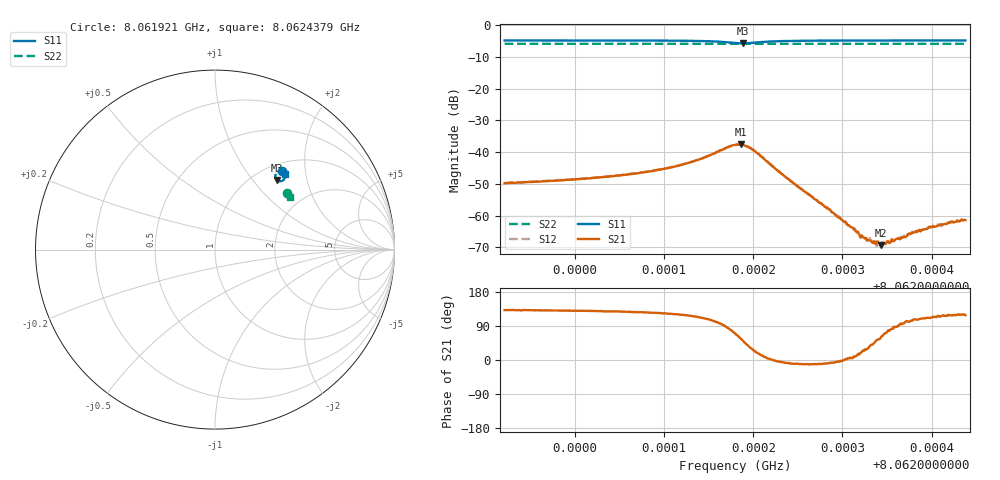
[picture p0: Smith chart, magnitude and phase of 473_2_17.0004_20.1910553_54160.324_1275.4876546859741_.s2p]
#  HZ  S  RI  R  50.00
! Rohde & Schwarz Vector Network Analyzer
! Rohde-Schwarz,ZNB20-2Port,1311601062101988,3.16
! Created: UTC 3/20/2024, 11:13:15 PM
! freq[Hz]  re:S11  im:S11  re:S21  im:S21  re:S12  im:S12  re:S22  im:S22
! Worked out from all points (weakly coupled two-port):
!   401 points, 8.061921 GHz to 8.0624379 GHz, reference 50 ohm
!   highest |S21| = -37.59 dB at 8.0621859 GHz (marker M1); lowest = -69.4 dB at 8.0623436 GHz (marker M2)
!   lowest |S11| = -5.7 dB at 8.0621885 GHz (marker M3), VSWR 3.16, Z = 62.9 + j66.8 ohm
!   |S11| at or under -10 dB: nowhere
!   |S22| runs from -5.9 to -5.8 dB; largest |S21 - S12| = 0.00092
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8.06192095e9  0.3719 0.4399  -0.00215 0.00242  -0.00202 0.00256  0.401 0.3157
8.06200755e9  0.3784 0.4339  -0.00242 0.00291  -0.00226 0.00309  0.4042 0.3114
8.06205278e9  0.3823 0.4297  -0.00266 0.00346  -0.00244 0.0036  0.4057 0.3091
8.06209414e9  0.3862 0.4238  -0.00295 0.00437  -0.00272 0.00459  0.4074 0.3069
8.06213162e9  0.39 0.4133  -0.00307 0.00636  -0.00268 0.00659  0.4088 0.3046
8.06217944e9  0.3625 0.3808  0.00435 0.0123  0.00515 0.0121  0.4085 0.3011
8.06218591e9  0.349 0.3847  0.00731 0.011  0.00805 0.0105  0.4084 0.3012
8.06218849e9  0.3442 0.3882  0.00831 0.0102  0.00896 0.0096  0.4083 0.3015
8.06219495e9  0.3368 0.4005  0.00961 0.00697  0.0102 0.00652  0.4082 0.3017
8.062204e9  0.3374 0.4173  0.00919 0.00326  0.00945 0.00267  0.4089 0.302
8.06223373e9  0.3589 0.4352  0.0043 -0.000488  0.0043 -0.000767  0.411 0.3009
8.06226604e9  0.3713 0.4345  0.00193 -0.00039  0.00191 -0.000503  0.4127 0.2993
8.06230998e9  0.3796 0.4312  0.000655 5.22e-05  0.000658 2.5e-05  0.4144 0.297
8.06232161e9  0.3811 0.4302  0.000453 0.000174  0.000452 0.000147  0.4149 0.2964
8.06232678e9  0.3817 0.43  0.00039 0.000208  0.000367 0.000184  0.4151 0.296
8.06233454e9  0.3826 0.4294  0.000275 0.000248  0.000293 0.000267  0.4153 0.2956
8.062341e9  0.3833 0.4288  0.00021 0.000296  0.000223 0.000288  0.4156 0.2953
8.06234358e9  0.3836 0.4288  0.00016 0.000297  0.000166 0.000305  0.4155 0.2952
8.06235263e9  0.3845 0.4282  8.32e-05 0.00036  0.000119 0.00034  0.4161 0.2946
8.06239399e9  0.3882 0.4256  -0.000219 0.000567  -0.000185 0.000599  0.4175 0.2925
8.06242113e9  0.3903 0.4237  -0.000368 0.000682  -0.000302 0.000745  0.4185 0.2912
8.06243793e9  0.3917 0.4228  -0.000403 0.000749  -0.000409 0.000789  0.419 0.2903
